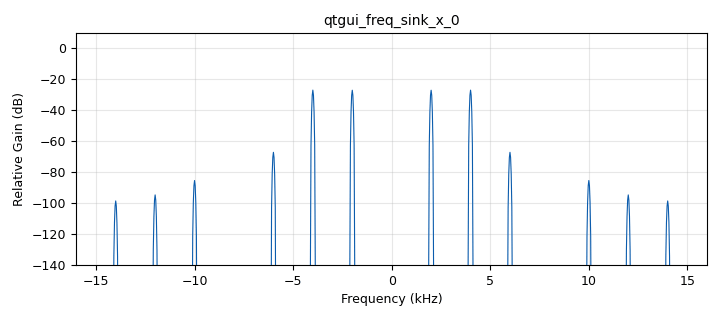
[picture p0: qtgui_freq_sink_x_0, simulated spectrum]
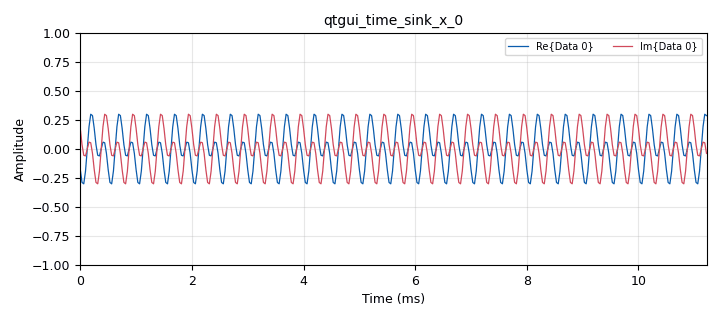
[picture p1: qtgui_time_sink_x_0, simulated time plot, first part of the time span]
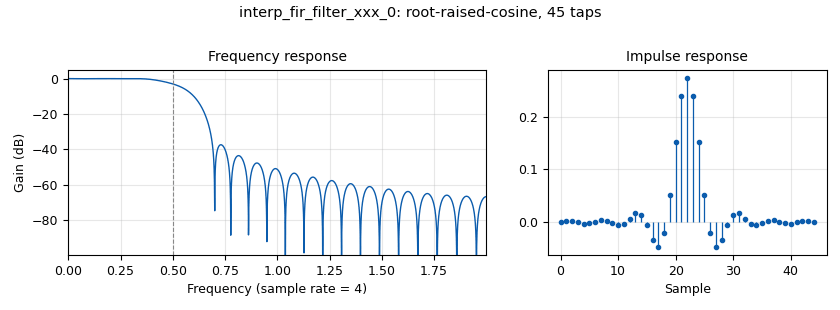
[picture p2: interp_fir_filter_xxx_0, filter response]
<?xml version='1.0' encoding='utf-8'?>
<?grc format='1' created='3.7.10'?>
<flow_graph>
<block>
<key>options</key>
<param><key>id</key><value>top_block</value></param>
<param><key>generate_options</key><value>qt_gui</value></param>
</block>
<block>
<key>variable</key>
<param><key>id</key><value>arity</value></param>
<param><key>value</key><value>4</value></param>
</block>
<block>
<key>variable</key>
<param><key>id</key><value>excess_bw</value></param>
<param><key>value</key><value>0.35</value></param>
</block>
<block>
<key>variable</key>
<param><key>id</key><value>rrc_taps</value></param>
<param><key>value</key><value>firdes.root_raised_cosine(1, sps, 1, excess_bw, 45)</value></param>
</block>
<block>
<key>variable</key>
<param><key>id</key><value>samp_rate</value></param>
<param><key>value</key><value>32000</value></param>
</block>
<block>
<key>variable</key>
<param><key>id</key><value>sps</value></param>
<param><key>value</key><value>4</value></param>
</block>
<block>
<key>blocks_throttle</key>
<param><key>id</key><value>blocks_throttle_0</value></param>
<param><key>samples_per_second</key><value>samp_rate</value></param>
<param><key>type</key><value>complex</value></param>
</block>
<block>
<key>blocks_vector_source_x</key>
<param><key>id</key><value>blocks_vector_source_x_0</value></param>
<param><key>type</key><value>complex</value></param>
<param><key>repeat</key><value>True</value></param>
<param><key>vector</key><value>(1+0j, 0-1j, 0+1j, -1+0j)</value></param>
</block>
<block>
<key>interp_fir_filter_xxx</key>
<param><key>id</key><value>interp_fir_filter_xxx_0</value></param>
<param><key>interp</key><value>4</value></param>
<param><key>taps</key><value>rrc_taps</value></param>
<param><key>type</key><value>ccc</value></param>
</block>
<block>
<key>qtgui_freq_sink_x</key>
<param><key>id</key><value>qtgui_freq_sink_x_0</value></param>
<param><key>bw</key><value>samp_rate</value></param>
<param><key>fc</key><value>0</value></param>
<param><key>fftsize</key><value>1024</value></param>
<param><key>showports</key><value>True</value></param>
<param><key>type</key><value>complex</value></param>
<param><key>wintype</key><value>firdes.WIN_BLACKMAN_hARRIS</value></param>
</block>
<block>
<key>qtgui_time_sink_x</key>
<param><key>id</key><value>qtgui_time_sink_x_0</value></param>
<param><key>color1</key><value>"blue"</value></param>
<param><key>label1</key><value></value></param>
<param><key>color2</key><value>"red"</value></param>
<param><key>label2</key><value></value></param>
<param><key>size</key><value>1024</value></param>
<param><key>srate</key><value>samp_rate</value></param>
<param><key>type</key><value>complex</value></param>
</block>
<connection><source_block_id>blocks_throttle_0</source_block_id><sink_block_id>interp_fir_filter_xxx_0</sink_block_id><source_key>0</source_key><sink_key>0</sink_key></connection>
<connection><source_block_id>blocks_vector_source_x_0</source_block_id><sink_block_id>blocks_throttle_0</sink_block_id><source_key>0</source_key><sink_key>0</sink_key></connection>
<connection><source_block_id>interp_fir_filter_xxx_0</source_block_id><sink_block_id>qtgui_freq_sink_x_0</sink_block_id><source_key>0</source_key><sink_key>0</sink_key></connection>
<connection><source_block_id>interp_fir_filter_xxx_0</source_block_id><sink_block_id>qtgui_time_sink_x_0</sink_block_id><source_key>0</source_key><sink_key>0</sink_key></connection>
</flow_graph>
